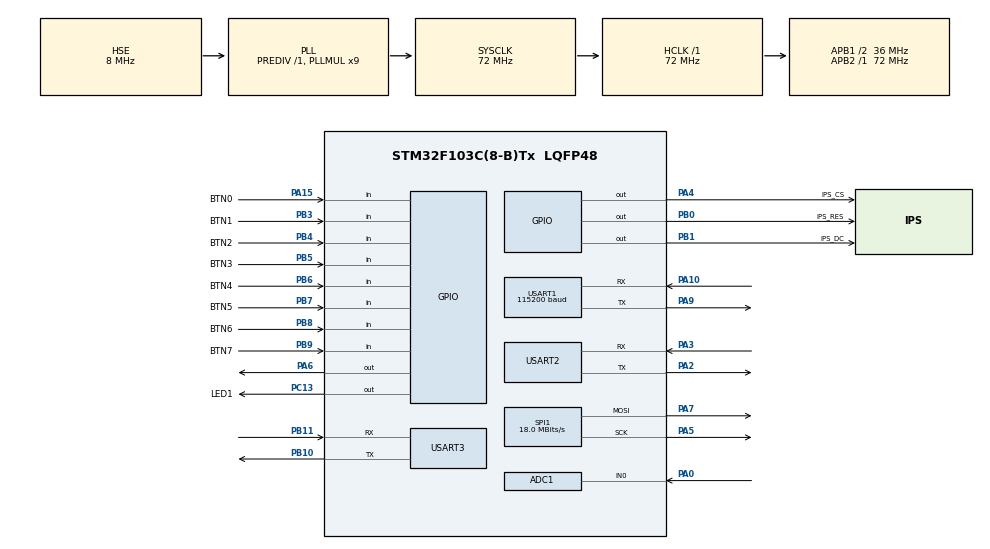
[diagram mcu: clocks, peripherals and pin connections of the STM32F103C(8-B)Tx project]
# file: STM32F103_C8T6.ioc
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ADC1.Channel-0\#ChannelRegularConversion=ADC_CHANNEL_0
ADC1.NbrOfConversionFlag=1
ADC1.Rank-0\#ChannelRegularConversion=1
ADC1.SamplingTime-0\#ChannelRegularConversion=ADC_SAMPLETIME_1CYCLE_5
ADC1.master=1
Dma.ADC1.0.Direction=DMA_PERIPH_TO_MEMORY
Dma.ADC1.0.Instance=DMA1_Channel1
Dma.ADC1.0.MemDataAlignment=DMA_MDATAALIGN_HALFWORD
Dma.ADC1.0.MemInc=DMA_MINC_ENABLE
Dma.ADC1.0.Mode=DMA_NORMAL
Dma.ADC1.0.PeriphDataAlignment=DMA_PDATAALIGN_HALFWORD
Dma.ADC1.0.PeriphInc=DMA_PINC_DISABLE
Dma.ADC1.0.Priority=DMA_PRIORITY_LOW
Dma.Request0=ADC1
Mcu.Family=STM32F1
Mcu.Name=STM32F103C(8-B)Tx
Mcu.Package=LQFP48
NVIC.DMA1_Channel1_IRQn=true\:0\:0\:false\:false\:true\:false\:true\:true
NVIC.PriorityGroup=NVIC_PRIORITYGROUP_4
NVIC.TIM2_IRQn=true\:1\:0\:true\:false\:true\:true\:true\:true
NVIC.TIM3_IRQn=true\:0\:0\:false\:false\:true\:true\:true\:true
NVIC.USART1_IRQn=true\:2\:0\:true\:false\:true\:false\:true\:true
NVIC.USART2_IRQn=true\:1\:0\:true\:false\:true\:false\:true\:true
NVIC.USART3_IRQn=true\:0\:0\:true\:false\:true\:false\:true\:true
PA0-WKUP.Signal=ADCx_IN0
PA10.Mode=Asynchronous
PA10.Signal=USART1_RX
PA13.Mode=Serial_Wire
PA13.Signal=SYS_JTMS-SWDIO
PA14.Mode=Serial_Wire
PA14.Signal=SYS_JTCK-SWCLK
PA15.GPIO_Label=BTN0
PA15.GPIO_PuPd=GPIO_PULLUP
PA15.Signal=GPIO_Input
PA2.Mode=Asynchronous
PA2.Signal=USART2_TX
PA3.Mode=Asynchronous
PA3.Signal=USART2_RX
PA4.GPIO_Label=IPS_CS
PA4.GPIO_PuPd=GPIO_PULLDOWN
PA4.GPIO_Speed=GPIO_SPEED_FREQ_HIGH
PA4.Signal=GPIO_Output
PA5.Mode=TX_Only_Simplex_Unidirect_Master
PA5.Signal=SPI1_SCK
PA6.GPIO_PuPd=GPIO_PULLDOWN
PA6.GPIO_Speed=GPIO_SPEED_FREQ_HIGH
PA6.Signal=GPIO_Output
PA7.Mode=TX_Only_Simplex_Unidirect_Master
PA7.Signal=SPI1_MOSI
PA9.Mode=Asynchronous
PA9.Signal=USART1_TX
PB0.GPIO_Label=IPS_RES
PB0.GPIO_PuPd=GPIO_PULLUP
PB0.GPIO_Speed=GPIO_SPEED_FREQ_HIGH
PB0.PinState=GPIO_PIN_SET
PB0.Signal=GPIO_Output
PB1.GPIO_Label=IPS_DC
PB1.GPIO_PuPd=GPIO_PULLUP
PB1.GPIO_Speed=GPIO_SPEED_FREQ_HIGH
PB1.PinState=GPIO_PIN_SET
PB1.Signal=GPIO_Output
PB10.Mode=Asynchronous
PB10.Signal=USART3_TX
PB11.Mode=Asynchronous
PB11.Signal=USART3_RX
PB3.GPIO_Label=BTN1
PB3.GPIO_PuPd=GPIO_PULLUP
PB3.Signal=GPIO_Input
PB4.GPIO_Label=BTN2
PB4.GPIO_Mode=GPIO_MODE_INPUT
PB4.GPIO_PuPd=GPIO_PULLUP
PB4.Signal=GPIO_Input
PB5.GPIO_Label=BTN3
PB5.GPIO_Mode=GPIO_MODE_INPUT
PB5.GPIO_PuPd=GPIO_PULLUP
PB5.Signal=GPIO_Input
PB6.GPIO_Label=BTN4
PB6.GPIO_Mode=GPIO_MODE_INPUT
PB6.GPIO_PuPd=GPIO_PULLUP
PB6.Signal=GPIO_Input
PB7.GPIO_Label=BTN5
PB7.GPIO_Mode=GPIO_MODE_INPUT
PB7.GPIO_PuPd=GPIO_PULLUP
PB7.Signal=GPIO_Input
PB8.GPIO_Label=BTN6
PB8.GPIO_Mode=GPIO_MODE_INPUT
PB8.GPIO_PuPd=GPIO_PULLUP
PB8.Signal=GPIO_Input
PB9.GPIO_Label=BTN7
PB9.GPIO_Mode=GPIO_MODE_INPUT
PB9.GPIO_PuPd=GPIO_PULLUP
PB9.Signal=GPIO_Input
PC13-TAMPER-RTC.GPIO_Label=LED1
PC13-TAMPER-RTC.GPIO_PuPd=GPIO_PULLUP
PC13-TAMPER-RTC.PinState=GPIO_PIN_SET
PC13-TAMPER-RTC.Signal=GPIO_Output
PC14-OSC32_IN.Mode=LSE-External-Oscillator
PC14-OSC32_IN.Signal=RCC_OSC32_IN
PC15-OSC32_OUT.Mode=LSE-External-Oscillator
PC15-OSC32_OUT.Signal=RCC_OSC32_OUT
PD0-OSC_IN.Mode=HSE-External-Oscillator
PD0-OSC_IN.Signal=RCC_OSC_IN
PD1-OSC_OUT.Mode=HSE-External-Oscillator
PD1-OSC_OUT.Signal=RCC_OSC_OUT
ProjectManager.HeapSize=0x200
ProjectManager.StackSize=0x400
ProjectManager.TargetToolchain=MDK-ARM V5.32
RCC.ADCPresc=RCC_ADCPCLK2_DIV6
RCC.AHBFreq_Value=72000000
RCC.APB1CLKDivider=RCC_HCLK_DIV2
RCC.APB1Freq_Value=36000000
RCC.APB1TimFreq_Value=72000000
RCC.APB2Freq_Value=72000000
RCC.APB2TimFreq_Value=72000000
RCC.HCLKFreq_Value=72000000
RCC.PLLMUL=RCC_PLL_MUL9
RCC.PLLSourceVirtual=RCC_PLLSOURCE_HSE
RCC.SYSCLKFreq_VALUE=72000000
RCC.SYSCLKSource=RCC_SYSCLKSOURCE_PLLCLK
RCC.USBFreq_Value=72000000
SH.ADCx_IN0.0=ADC1_IN0,IN0
SPI1.BaudRatePrescaler=SPI_BAUDRATEPRESCALER_4
SPI1.CalculateBaudRate=18.0 MBits/s
SPI1.Direction=SPI_DIRECTION_2LINES
SPI1.Mode=SPI_MODE_MASTER
SPI1.VirtualType=VM_MASTER
TIM2.AutoReloadPreload=TIM_AUTORELOAD_PRELOAD_ENABLE
TIM2.Period=5000-1
TIM2.Prescaler=7200-1
TIM3.AutoReloadPreload=TIM_AUTORELOAD_PRELOAD_ENABLE
TIM3.Period=5000-1
TIM3.Prescaler=7200-1
USART1.BaudRate=115200
USART1.VirtualMode=VM_ASYNC
USART2.VirtualMode=VM_ASYNC
USART3.VirtualMode=VM_ASYNC
VP_TIM2_VS_ClockSourceINT.Mode=Internal
VP_TIM3_VS_ClockSourceINT.Mode=Internal
board=custom

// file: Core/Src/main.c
/* USER CODE BEGIN Header */
/**
  ******************************************************************************
  * @file           : main.c
  * @brief          : Main program body
  ******************************************************************************
  * @attention
  *
  * Copyright (c) 2025 STMicroelectronics.
  * All rights reserved.
  *
  * This software is licensed under terms that can be found in the LICENSE file
  * in the root directory of this software component.
  * If no LICENSE file comes with this software, it is provided AS-IS.
  *
  ******************************************************************************
  */
/* USER CODE END Header */
#include "main.h"
#include "adc.h"
#include "dma.h"
#include "spi.h"
#include "tim.h"
#include "usart.h"
#include "gpio.h"

/* USER CODE BEGIN Includes */
#include "headfile.h"
/* USER CODE END Includes */

/* USER CODE BEGIN PV */
float I_Data=0;

float I_Data_Ratio=0;
Kalman_Typedef Curreny_Kalman;
extern uint8_t window_index;
float a,b,c,d;
extern float HMI_data;
extern uint8_t RxFlag_3;
extern uint8_t modeFlag;
/* USER CODE END PV */

void SystemClock_Config(void);

int main(void)
{

  /* MCU Configuration--------------------------------------------------------*/

  /* Reset of all peripherals, Initializes the Flash interface and the Systick. */
  HAL_Init();

  /* Configure the system clock */
  SystemClock_Config();

  /* Initialize all configured peripherals */
  MX_GPIO_Init();
  MX_DMA_Init();
  MX_USART1_UART_Init();
  MX_USART2_UART_Init();
  MX_USART3_UART_Init();
  MX_ADC1_Init();
  MX_SPI1_Init();
  MX_TIM2_Init();
  MX_TIM3_Init();
  /* USER CODE BEGIN 2 */
    Store_Init();
    Kalman_Init(&Curreny_Kalman,0.0001,0.01);
    ADC_I_Init(&Curreny_data,5);
    HAL_TIM_Base_Start_IT(&htim2);
    HAL_TIM_Base_Start_IT(&htim3);
    HMI_Uart_DMA_RX_Init();

  /* USER CODE END 2 */

  /* Infinite loop */
  /* USER CODE BEGIN WHILE */
  while (1)
  {
    JustFloat_4(Curreny_data.current_value_filt,Curreny_data.avg_value,Curreny_data.sum,Curreny_data.max_value);
//    JustFloat_4(Info.aim_square_num,b,c,d);
    HMI_Send_EveryInfo();
     if(HMI_key_get_state(HMI_STAR)== HMI_KEY_PRESS)
  	{
    usart3_flage=1;
    HAL_GPIO_WritePin((GPIO_TypeDef *)LED1_GPIO_Port, (uint16_t)LED1_Pin, (GPIO_PinState)0);
	HAL_Delay(100);
    HMI_key_clear_state(HMI_STAR);
    }
    else  if(HMI_key_get_state(HMI_STOP)== HMI_KEY_PRESS)
  	{
    usart3_flage=0;
    HAL_GPIO_WritePin((GPIO_TypeDef *)LED1_GPIO_Port, (uint16_t)LED1_Pin, (GPIO_PinState)0);
	HAL_Delay(100);
    HMI_key_clear_state(HMI_STOP);
    }

    else if(HMI_key_get_state(HMI_UP)== HMI_KEY_PRESS)
  	{
    ADC_I_DATA(&Curreny_data,1);
    HAL_GPIO_WritePin((GPIO_TypeDef *)LED1_GPIO_Port, (uint16_t)LED1_Pin, (GPIO_PinState)0);
	HAL_Delay(100);
    HMI_key_clear_state(HMI_UP);
    }
    else if(HMI_key_get_state(HMI_DOWN)== HMI_KEY_PRESS)
  	{
    ADC_I_DATA(&Curreny_data,2);
    HAL_GPIO_WritePin((GPIO_TypeDef *)LED1_GPIO_Port, (uint16_t)LED1_Pin, (GPIO_PinState)0);
	HAL_Delay(100);
	HMI_key_clear_state(HMI_DOWN);
    }
    else if(HMI_key_get_state(HMI_UP2)== HMI_KEY_PRESS)
  	{
    ADC_I_DATA(&Curreny_data,3);
    HAL_GPIO_WritePin((GPIO_TypeDef *)LED1_GPIO_Port, (uint16_t)LED1_Pin, (GPIO_PinState)0);
	HAL_Delay(100);
	HMI_key_clear_state(HMI_UP2);
    }
    else if(HMI_key_get_state(HMI_DOWN2)== HMI_KEY_PRESS)
  	{
    ADC_I_DATA(&Curreny_data,4);
    HAL_GPIO_WritePin((GPIO_TypeDef *)LED1_GPIO_Port, (uint16_t)LED1_Pin, (GPIO_PinState)0);
	HAL_Delay(100);
	HMI_key_clear_state(HMI_DOWN2);
    }
    else if(HMI_key_get_state(HMI_SA)== HMI_KEY_PRESS)
  	{
    HAL_GPIO_WritePin((GPIO_TypeDef *)LED1_GPIO_Port, (uint16_t)LED1_Pin, (GPIO_PinState)0);
	HAL_Delay(100);
    Store_Save();
	HMI_key_clear_state(HMI_SA);
    }
    if (RxFlag_3==1){    HAL_GPIO_WritePin((GPIO_TypeDef *)LED1_GPIO_Port, (uint16_t)LED1_Pin, (GPIO_PinState)0);
	HAL_Delay(100);}
    if (modeFlag==1){    modeFlag=0;HAL_GPIO_WritePin((GPIO_TypeDef *)LED1_GPIO_Port, (uint16_t)LED1_Pin, (GPIO_PinState)0);
	HAL_Delay(100);modeFlag=0;}

    HAL_GPIO_WritePin((GPIO_TypeDef *)LED1_GPIO_Port, (uint16_t)LED1_Pin, (GPIO_PinState)1);
    HAL_Delay(100);
    /* USER CODE END WHILE */

  }
}

void SystemClock_Config(void)
{
  RCC_OscInitTypeDef RCC_OscInitStruct = {0};
  RCC_ClkInitTypeDef RCC_ClkInitStruct = {0};
  RCC_PeriphCLKInitTypeDef PeriphClkInit = {0};

  /** Initializes the RCC Oscillators according to the specified parameters
  * in the RCC_OscInitTypeDef structure.
  */
  RCC_OscInitStruct.OscillatorType = RCC_OSCILLATORTYPE_HSE;
  RCC_OscInitStruct.HSEState = RCC_HSE_ON;
  RCC_OscInitStruct.HSEPredivValue = RCC_HSE_PREDIV_DIV1;
  RCC_OscInitStruct.HSIState = RCC_HSI_ON;
  RCC_OscInitStruct.PLL.PLLState = RCC_PLL_ON;
  RCC_OscInitStruct.PLL.PLLSource = RCC_PLLSOURCE_HSE;
  RCC_OscInitStruct.PLL.PLLMUL = RCC_PLL_MUL9;
  if (HAL_RCC_OscConfig(&RCC_OscInitStruct) != HAL_OK)
  {
    Error_Handler();
  }

  /** Initializes the CPU, AHB and APB buses clocks
  */
  RCC_ClkInitStruct.ClockType = RCC_CLOCKTYPE_HCLK|RCC_CLOCKTYPE_SYSCLK
                              |RCC_CLOCKTYPE_PCLK1|RCC_CLOCKTYPE_PCLK2;
  RCC_ClkInitStruct.SYSCLKSource = RCC_SYSCLKSOURCE_PLLCLK;
  RCC_ClkInitStruct.AHBCLKDivider = RCC_SYSCLK_DIV1;
  RCC_ClkInitStruct.APB1CLKDivider = RCC_HCLK_DIV2;
  RCC_ClkInitStruct.APB2CLKDivider = RCC_HCLK_DIV1;

  if (HAL_RCC_ClockConfig(&RCC_ClkInitStruct, FLASH_LATENCY_2) != HAL_OK)
  {
    Error_Handler();
  }
  PeriphClkInit.PeriphClockSelection = RCC_PERIPHCLK_ADC;
  PeriphClkInit.AdcClockSelection = RCC_ADCPCLK2_DIV6;
  if (HAL_RCCEx_PeriphCLKConfig(&PeriphClkInit) != HAL_OK)
  {
    Error_Handler();
  }
}

/* USER CODE BEGIN 4 */
int16_t t=0;
//int16_t t=0;
void HAL_TIM_PeriodElapsedCallback(TIM_HandleTypeDef *htim){
    if(htim == &htim2)  //
   {

   Collect_CurrentData(&Curreny_data);
   Info.current_rlt=(int)(Curreny_data.current_value_filt*1000);
   Info.current_avg=(int)(Curreny_data.current_value_filt*1000);
   Info.power_rlt=(int)(Curreny_data.current_value_filt*5000);
   Info.power_max=Curreny_data.max_value*5000;
   }
     if(htim == &htim3)  //
   {
//       t++;
//       if (t>=300) {
//           t=0;  MX_USART1_UART_Init();
//        }
        send_aim_num(Info.aim_square_num);
        if(usart3_flage==0) clear_info();
//       Info.y_distance+=1;
//        Info.x_length+=1;
//        Info.square_num+=1;
//        key_scanner ();
    }

}

/* USER CODE END 4 */

void Error_Handler(void)
{
  __disable_irq();
  while (1)
  {
  }
}
